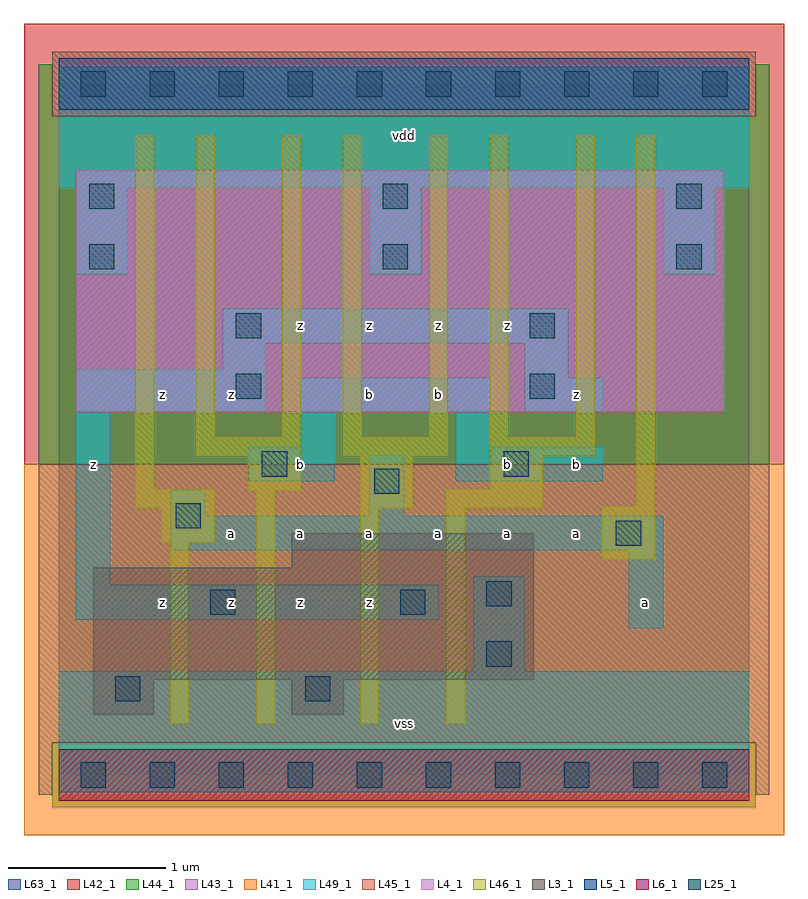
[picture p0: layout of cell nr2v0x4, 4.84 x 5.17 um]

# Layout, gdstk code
import gdstk
lib = gdstk.Library(unit=1e-6, precision=1e-09)
def R(c, l, rs):  # rectangles x0, y0, x1, y1
    for r in rs: c.add(gdstk.rectangle(r[:2], r[2:], *l))
def A(c, l, x, y, w, h, nx, ny, dx, dy):  # array of equal rectangles
    R(c, l, [(x+i*dx, y+j*dy, x+i*dx+w, y+j*dy+h) for i in range(nx) for j in range(ny)])
L3_1 = (3, 1)
L4_1 = (4, 1)
L5_1 = (5, 1)
L6_1 = (6, 1)
L25_1 = (25, 1)
L41_1 = (41, 1)
L42_1 = (42, 1)
L43_1 = (43, 1)
L44_1 = (44, 1)
L45_1 = (45, 1)
L46_1 = (46, 1)
L49_1 = (49, 1)
L63_1 = (63, 1)

nr2v0x4 = lib.new_cell('nr2v0x4')
R(nr2v0x4, L3_1, [(0.22,0.385,0.605,0.605), (1.485,0.385,1.815,0.605), (0.22,0.605,3.025,1.32), (1.485,1.32,3.025,1.54)])
R(nr2v0x4, L4_1, [(0.11,2.31,4.235,3.85)])
R(nr2v0x4, L5_1, [(0,4.235,4.4,4.565)])
R(nr2v0x4, L6_1, [(0,-0.165,4.4,0.165)])
A(nr2v0x4, L25_1, 0.14, -0.08, 0.16, 0.16, 10, 2, 0.44, 4.4)
A(nr2v0x4, L25_1, 0.195, 3.22, 0.16, 0.16, 3, 2, 1.87, 0.385)
R(nr2v0x4, L25_1, [(0.36,0.47,0.52,0.63), (1.57,0.47,1.73,0.63), (2.725,0.69,2.885,0.85), (0.965,1.02,1.125,1.18), (2.175,1.02,2.335,1.18), (2.725,1.075,2.885,1.235), (3.55,1.46,3.71,1.62), (0.745,1.57,0.905,1.73), (2.01,1.79,2.17,1.95), (1.295,1.9,1.455,2.06), (2.835,1.9,2.995,2.06), (1.13,2.395,1.29,2.555), (3,2.395,3.16,2.555), (1.13,2.78,1.29,2.94), (3,2.78,3.16,2.94)])
R(nr2v0x4, L41_1, [(-0.22,-0.385,4.62,1.98)])
R(nr2v0x4, L42_1, [(-0.22,1.98,4.62,4.785)])
R(nr2v0x4, L43_1, [(0,-0.165,4.4,0.165), (0.22,0.385,0.605,0.605), (1.485,0.385,1.815,0.605), (0.22,0.605,3.025,1.32), (1.485,1.32,3.025,1.54), (0.11,2.31,4.235,3.85), (0,4.235,4.4,4.565)])
R(nr2v0x4, L44_1, [(-0.04,-0.205,4.44,0.205), (-0.125,1.98,4.525,4.195), (-0.125,4.195,-0.04,4.525), (4.44,4.195,4.525,4.525)])
R(nr2v0x4, L45_1, [(-0.125,-0.125,-0.04,0.205), (4.44,-0.125,4.525,0.205), (-0.125,0.205,4.525,1.98), (-0.04,4.195,4.44,4.605)])
A(nr2v0x4, L46_1, 0.875, 2.03, 0.67, 0.12, 3, 1, 0.935, 0)
R(nr2v0x4, L46_1, [(0.71,0.325,0.83,1.48), (1.26,0.325,1.38,1.81), (1.92,0.325,2.04,1.7), (2.47,0.325,2.59,1.7), (3.46,1.37,3.8,1.71), (0.655,1.48,0.995,1.7), (0.49,1.7,0.995,1.82), (1.92,1.7,2.26,2.03), (2.47,1.7,3.085,1.82), (3.68,1.71,3.8,4.075), (1.205,1.81,1.545,2.03), (0.49,1.82,0.61,4.075), (2.745,1.82,3.085,2.03), (0.875,2.15,0.995,4.075), (1.425,2.15,1.545,4.075), (1.81,2.15,1.93,4.075), (2.36,2.15,2.48,4.075), (2.745,2.15,2.865,4.075), (3.295,2.15,3.415,4.075)])
A(nr2v0x4, L49_1, 0.11, 3.19, 0.33, 0.55, 3, 1, 1.87, 0)
R(nr2v0x4, L49_1, [(0,-0.11,4.4,0.66), (2.64,0.66,2.97,1.265), (3.63,0.935,3.85,1.43), (0.11,0.99,2.42,1.21), (0.11,1.21,0.33,2.31), (0.715,1.43,3.85,1.65), (0.715,1.65,0.935,1.815), (1.98,1.65,2.2,2.035), (1.21,1.87,1.76,2.09), (2.53,1.87,3.465,2.09), (1.54,2.09,1.76,2.31), (2.53,2.09,2.75,2.31), (0.11,2.31,1.32,2.585), (1.54,2.31,2.75,2.53), (2.97,2.31,3.465,2.53), (2.97,2.53,3.245,2.75), (1.045,2.585,1.32,2.75), (1.045,2.75,3.245,2.97), (0,3.74,4.4,4.51)])
R(nr2v0x4, L63_1, [(0,0,4.4,4.4)])
nr2v0x4.add(gdstk.Label('z', (0.22,1.98), layer=49, texttype=1))
nr2v0x4.add(gdstk.Label('z', (0.66,1.1), layer=49, texttype=1))
nr2v0x4.add(gdstk.Label('z', (1.1,1.1), layer=49, texttype=1))
nr2v0x4.add(gdstk.Label('a', (1.1,1.54), layer=49, texttype=1))
nr2v0x4.add(gdstk.Label('z', (1.54,1.1), layer=49, texttype=1))
nr2v0x4.add(gdstk.Label('a', (1.54,1.54), layer=49, texttype=1))
nr2v0x4.add(gdstk.Label('z', (0.66,2.42), layer=49, texttype=1))
nr2v0x4.add(gdstk.Label('z', (1.1,2.42), layer=49, texttype=1))
nr2v0x4.add(gdstk.Label('b', (1.54,1.98), layer=49, texttype=1))
nr2v0x4.add(gdstk.Label('z', (1.54,2.86), layer=49, texttype=1))
nr2v0x4.add(gdstk.Label('vss', (2.2,0.33), layer=49, texttype=1))
nr2v0x4.add(gdstk.Label('z', (1.98,1.1), layer=49, texttype=1))
nr2v0x4.add(gdstk.Label('a', (1.98,1.54), layer=49, texttype=1))
nr2v0x4.add(gdstk.Label('a', (2.42,1.54), layer=49, texttype=1))
nr2v0x4.add(gdstk.Label('b', (1.98,2.42), layer=49, texttype=1))
nr2v0x4.add(gdstk.Label('b', (2.42,2.42), layer=49, texttype=1))
nr2v0x4.add(gdstk.Label('z', (1.98,2.86), layer=49, texttype=1))
nr2v0x4.add(gdstk.Label('z', (2.42,2.86), layer=49, texttype=1))
nr2v0x4.add(gdstk.Label('vdd', (2.2,4.07), layer=49, texttype=1))
nr2v0x4.add(gdstk.Label('a', (2.86,1.54), layer=49, texttype=1))
nr2v0x4.add(gdstk.Label('a', (3.3,1.54), layer=49, texttype=1))
nr2v0x4.add(gdstk.Label('b', (2.86,1.98), layer=49, texttype=1))
nr2v0x4.add(gdstk.Label('b', (3.3,1.98), layer=49, texttype=1))
nr2v0x4.add(gdstk.Label('z', (3.3,2.42), layer=49, texttype=1))
nr2v0x4.add(gdstk.Label('z', (2.86,2.86), layer=49, texttype=1))
nr2v0x4.add(gdstk.Label('a', (3.74,1.1), layer=49, texttype=1))

lib.write_gds('nr2v0x4.gds')
